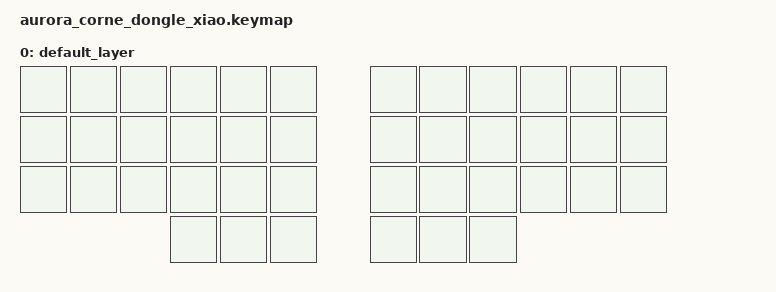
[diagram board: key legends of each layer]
/*
 * Copyright (c) 2024 The ZMK Contributors
 * SPDX-License-Identifier: MIT
 */

#include <behaviors.dtsi>
#include <dt-bindings/zmk/keys.h>

/ {
	keymap {
		compatible = "zmk,keymap";

		/* Dongle has no physical keys - empty keymap required for build */
		default_layer {
			bindings = <
				&none &none &none &none &none &none   &none &none &none &none &none &none
				&none &none &none &none &none &none   &none &none &none &none &none &none
				&none &none &none &none &none &none   &none &none &none &none &none &none
				                  &none &none &none   &none &none &none
			>;
		};
	};
};
